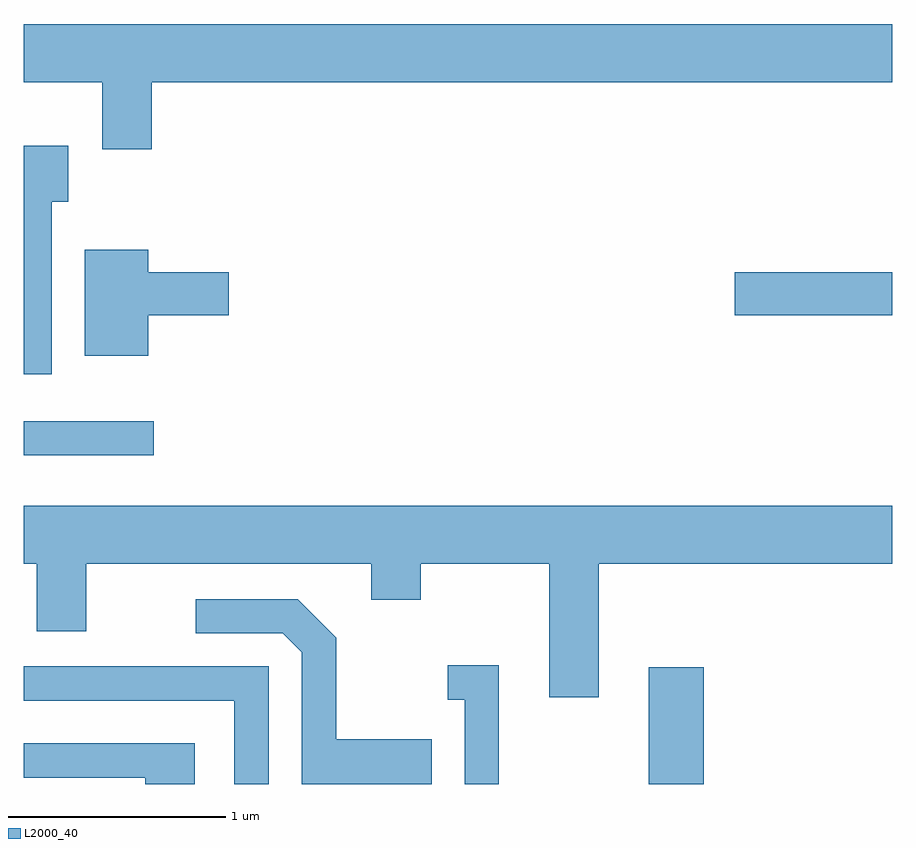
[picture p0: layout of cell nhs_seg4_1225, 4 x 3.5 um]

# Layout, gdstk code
import gdstk
lib = gdstk.Library(unit=1e-6, precision=1e-09)
def R(c, l, rs):  # rectangles x0, y0, x1, y1
    for r in rs: c.add(gdstk.rectangle(r[:2], r[2:], *l))
def P(c, l, *ps):  # polygons
    for p in ps: c.add(gdstk.Polygon(p, *l))
L2000_40 = (2000, 40)

nhs_seg4_1225 = lib.new_cell('nhs_seg4_1225')
R(nhs_seg4_1225, L2000_40, [(224.491,1255.982,224.744,1256.519), (221.611,1257.496,222.208,1257.654), (224.886,1258.141,225.611,1258.339)])
P(nhs_seg4_1225, L2000_40, [(222.199,1259.216),(225.611,1259.216),(225.611,1259.484),(221.611,1259.484),(221.611,1259.216),(221.971,1259.216),(221.971,1258.906),(222.199,1258.906)],
  [(221.739,1258.666),(221.814,1258.666),(221.814,1258.924),(221.611,1258.924),(221.611,1257.871),(221.739,1257.871)],
  [(222.184,1258.141),(222.554,1258.141),(222.554,1258.339),(222.184,1258.339),(222.184,1258.444),(221.891,1258.444),(221.891,1257.956),(222.184,1257.956)],
  [(224.259,1256.996),(225.611,1256.996),(225.611,1257.264),(221.611,1257.264),(221.611,1256.996),(221.671,1256.996),(221.671,1256.686),(221.899,1256.686),(221.899,1256.996),(223.211,1256.996),(223.211,1256.831),(223.439,1256.831),(223.439,1256.996),(224.031,1256.996),(224.031,1256.381),(224.259,1256.381)],
  [(223.489,1256.189),(223.049,1256.189),(223.049,1256.657),(222.872,1256.834),(222.403,1256.834),(222.403,1256.676),(222.804,1256.676),(222.891,1256.589),(222.891,1255.982),(223.489,1255.982)],
  [(223.799,1256.529),(223.563,1256.529),(223.563,1256.371),(223.641,1256.371),(223.641,1255.982),(223.799,1255.982)],
  [(222.739,1256.524),(221.611,1256.524),(221.611,1256.366),(222.581,1256.366),(222.581,1255.982),(222.739,1255.982)],
  [(222.399,1256.169),(221.611,1256.169),(221.611,1256.011),(222.171,1256.011),(222.171,1255.982),(222.399,1255.982)])

lib.write_gds('nhs_seg4_1225.gds')
